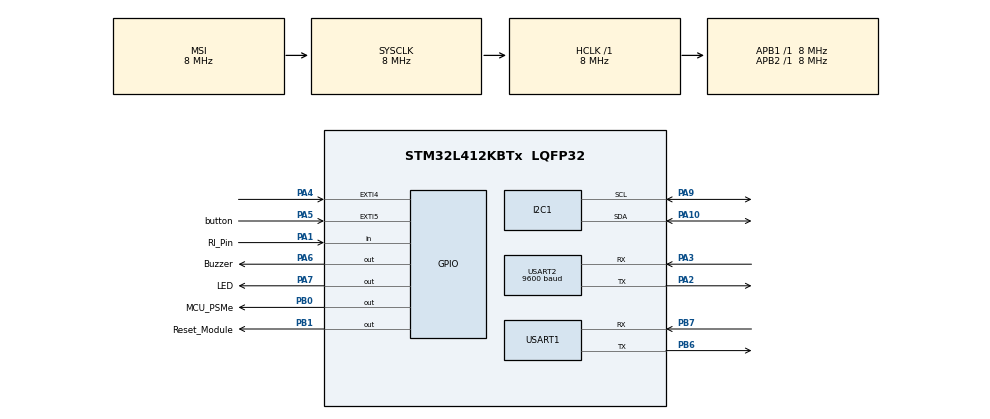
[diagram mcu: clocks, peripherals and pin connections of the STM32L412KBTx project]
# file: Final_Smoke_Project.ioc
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Dma.Request0=USART1_RX
Dma.Request1=USART2_RX
Dma.USART1_RX.0.Direction=DMA_PERIPH_TO_MEMORY
Dma.USART1_RX.0.Instance=DMA2_Channel7
Dma.USART1_RX.0.MemDataAlignment=DMA_MDATAALIGN_BYTE
Dma.USART1_RX.0.MemInc=DMA_MINC_ENABLE
Dma.USART1_RX.0.Mode=DMA_NORMAL
Dma.USART1_RX.0.PeriphDataAlignment=DMA_PDATAALIGN_BYTE
Dma.USART1_RX.0.PeriphInc=DMA_PINC_DISABLE
Dma.USART1_RX.0.Priority=DMA_PRIORITY_HIGH
Dma.USART2_RX.1.Direction=DMA_PERIPH_TO_MEMORY
Dma.USART2_RX.1.Instance=DMA1_Channel6
Dma.USART2_RX.1.MemDataAlignment=DMA_MDATAALIGN_BYTE
Dma.USART2_RX.1.MemInc=DMA_MINC_ENABLE
Dma.USART2_RX.1.Mode=DMA_NORMAL
Dma.USART2_RX.1.PeriphDataAlignment=DMA_PDATAALIGN_BYTE
Dma.USART2_RX.1.PeriphInc=DMA_PINC_DISABLE
Dma.USART2_RX.1.Priority=DMA_PRIORITY_HIGH
I2C1.Timing=0x2000090E
IWDG.Prescaler=IWDG_PRESCALER_256
Mcu.Family=STM32L4
Mcu.Name=STM32L412KBTx
Mcu.Package=LQFP32
NVIC.DMA1_Channel6_IRQn=true\:0\:0\:true\:false\:true\:false\:true
NVIC.DMA2_Channel7_IRQn=true\:0\:0\:false\:false\:true\:false\:true
NVIC.EXTI9_5_IRQn=true\:0\:0\:false\:false\:true\:true\:true
NVIC.FPU_IRQn=true\:0\:0\:false\:false\:true\:true\:false
NVIC.PriorityGroup=NVIC_PRIORITYGROUP_4
NVIC.TIM1_UP_TIM16_IRQn=true\:0\:0\:false\:false\:true\:true\:true
NVIC.TIM2_IRQn=true\:0\:0\:false\:false\:true\:true\:true
NVIC.TIM6_IRQn=true\:0\:0\:false\:false\:true\:true\:true
NVIC.USART1_IRQn=true\:0\:0\:true\:false\:true\:true\:true
NVIC.USART2_IRQn=true\:0\:0\:false\:false\:true\:true\:true
PA1.GPIO_Label=RI_Pin
PA1.Signal=GPIO_Input
PA10.Mode=I2C
PA10.Signal=I2C1_SDA
PA13\ (JTMS/SWDIO).Mode=Trace_Asynchronous_SW
PA13\ (JTMS/SWDIO).Signal=SYS_JTMS-SWDIO
PA14\ (JTCK/SWCLK).Mode=Trace_Asynchronous_SW
PA14\ (JTCK/SWCLK).Signal=SYS_JTCK-SWCLK
PA2.Mode=Asynchronous
PA2.Signal=USART2_TX
PA3.Mode=Asynchronous
PA3.Signal=USART2_RX
PA4.Signal=GPXTI4
PA5.GPIO_Label=button
PA5.GPIO_ModeDefaultEXTI=GPIO_MODE_IT_FALLING
PA5.Signal=GPXTI5
PA6.GPIO_Label=Buzzer
PA6.Signal=GPIO_Output
PA7.GPIO_Label=LED
PA7.Signal=GPIO_Output
PA9.Mode=I2C
PA9.Signal=I2C1_SCL
PB0.GPIO_Label=MCU_PSMe
PB0.Signal=GPIO_Output
PB1.GPIO_Label=Reset_Module
PB1.Signal=GPIO_Output
PB3\ (JTDO/TRACESWO).Mode=Trace_Asynchronous_SW
PB3\ (JTDO/TRACESWO).Signal=SYS_JTDO-SWO
PB6.Mode=Asynchronous
PB6.Signal=USART1_TX
PB7.GPIO_PuPd=GPIO_PULLUP
PB7.Mode=Asynchronous
PB7.Signal=USART1_RX
ProjectManager.HeapSize=0x200
ProjectManager.StackSize=0x400
ProjectManager.TargetToolchain=STM32CubeIDE
RCC.ADCFreq_Value=8000000
RCC.AHBFreq_Value=8000000
RCC.APB1Freq_Value=8000000
RCC.APB1TimFreq_Value=8000000
RCC.APB2Freq_Value=8000000
RCC.APB2TimFreq_Value=8000000
RCC.CortexFreq_Value=8000000
RCC.HCLKFreq_Value=8000000
RCC.HSE_VALUE=8000000
RCC.HSI48_VALUE=48000000
RCC.HSI_VALUE=16000000
RCC.LPTIM1CLockSelection=RCC_LPTIM1CLKSOURCE_HSI
RCC.LSE_VALUE=32768
RCC.MSIClockRange=RCC_MSIRANGE_7
RCC.MSI_VALUE=8000000
RCC.SYSCLKFreq_VALUE=8000000
RCC.USART1CLockSelection=RCC_USART1CLKSOURCE_HSI
RCC.USART2CLockSelection=RCC_USART2CLKSOURCE_HSI
RCC.USBFreq_Value=8000000
RCC.VCOOutputFreq_Value=64000000
TIM16.Period=20000
TIM16.Prescaler=7999
TIM2.Period=49
TIM2.Prescaler=7999
TIM6.Period=20000
TIM6.Prescaler=7999
USART1.VirtualMode-Asynchronous=VM_ASYNC
USART2.BaudRate=9600
USART2.VirtualMode-Asynchronous=VM_ASYNC
VP_IWDG_VS_IWDG.Mode=IWDG_Activate
VP_RTC_VS_RTC_Activate.Mode=RTC_Enabled
VP_TIM16_VS_ClockSourceINT.Mode=Enable_Timer
VP_TIM2_VS_ClockSourceINT.Mode=Internal
VP_TIM6_VS_ClockSourceINT.Mode=Enable_Timer
board=custom

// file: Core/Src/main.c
/* USER CODE BEGIN Header */
/**
  ******************************************************************************
  * @file           : main.c
  * @brief          : Main program body
  ******************************************************************************
  * @attention
  *
  * Copyright (c) 2024 STMicroelectronics.
  * All rights reserved.
  *
  * This software is licensed under terms that can be found in the LICENSE file
  * in the root directory of this software component.
  * If no LICENSE file comes with this software, it is provided AS-IS.
  *
  ******************************************************************************
  */
/* USER CODE END Header */
#include "main.h"

/* USER CODE BEGIN Includes */
#include <ViettelSDK_Device_Management.h>
#include "BM22S2021_1.h"
#include <sht3x.h>
#include "stdlib.h"
#include "stdio.h"
/* USER CODE END Includes */

/* USER CODE BEGIN PTD */

struct ViettelSDK sdk_handler;
struct Smoke_Data smoke_handler;

/* Data Global Variables */
//volatile uint32_t pulse;
/* USER CODE END PTD */

/* USER CODE BEGIN PD */
#define SMOKE_EN 1
#define SHT3X_EN 1
/* USER CODE END PD */

I2C_HandleTypeDef hi2c1;

IWDG_HandleTypeDef hiwdg;

RTC_HandleTypeDef hrtc;

TIM_HandleTypeDef htim2;
TIM_HandleTypeDef htim6;

UART_HandleTypeDef huart1;
UART_HandleTypeDef huart2;
DMA_HandleTypeDef hdma_usart1_rx;
DMA_HandleTypeDef hdma_usart2_rx;

void SystemClock_Config(void);
static void MX_GPIO_Init(void);
static void MX_USART1_UART_Init(void);
static void MX_RTC_Init(void);
static void MX_TIM2_Init(void);
static void MX_DMA_Init(void);
static void MX_USART2_UART_Init(void);
static void MX_I2C1_Init(void);
static void MX_TIM6_Init(void);
static void MX_IWDG_Init(void);
static void MX_TIM16_Init(void);
/* USER CODE BEGIN PFP */

//extern void initialise_monitor_handles(void);
/* USER CODE END PFP */

/* USER CODE BEGIN 0 */

uint8_t test_case = 4; //Disable test mode

void ConfigTimerPeriod(TIM_HandleTypeDef *htim, uint16_t Time);
void HAL_UARTEx_RxEventCallback(UART_HandleTypeDef *huart, uint16_t Size)
{
	if(huart == &huart1)
	{
		saveResponse(&sdk_handler, huart, Size);

		if(sdk_handler.StopMode == 1 && sdk_handler.sleep == false)
		{
			Exit_Stop1Mode(&sdk_handler, &huart1, &huart2);
			sdk_handler.StopMode = 0;
		}
	}
	else if (huart == &huart2)
	{
		saveSmokeRespond(&smoke_handler, huart, Size);

		if(test_case == 3)
			smoke_handler.AlarmSatus = 1;

		if(sdk_handler.coap_params.ReportStatus == 0 && sdk_handler.testCase !=0)
		{
			smoke_handler.AlarmSatus = 0;
			test_case = 0;
			ConfigTimerPeriod(&htim6, 200);
	  		HAL_GPIO_WritePin(GPIOA, GPIO_PIN_6, 0);
	  		HAL_GPIO_WritePin(GPIOA, GPIO_PIN_7, 0);
		}
		if(sdk_handler.coap_params.ReportStatus == 0)
			smoke_handler.AlarmSatus = 0;

		if(sdk_handler.StopMode == 1)
		{
			HAL_IWDG_Refresh(&hiwdg);
			Exit_Stop1Mode(&sdk_handler, &huart1, &huart2);
			sdk_handler.StopMode = 0;
		}

		  if(smoke_handler.AlarmSatus)
			  HAL_GPIO_WritePin(GPIOA, GPIO_PIN_6, 1);
		  else
			  HAL_GPIO_WritePin(GPIOA, GPIO_PIN_6, 0);

	}
}

//Buton Run

uint32_t timestatrt = 0;
bool state = true;
bool btn_test = false;
uint16_t count = 0;

void HAL_GPIO_EXTI_Callback(uint16_t GPIO_Pin)
{
	if(GPIO_Pin == GPIO_PIN_5 && state == true){
		btn_test = true;
		HAL_TIM_Base_Start_IT(&htim2);
		state = false;

		timestatrt = HAL_GetTick();
	}
	else{
		__NOP();
	}
}

void HAL_TIM_PeriodElapsedCallback(TIM_HandleTypeDef *htim)
{
  /* Prevent unused argument(s) compilation warning */
  UNUSED(htim);

  /* NOTE : This function should not be modified, when the callback is needed,
            the HAL_TIM_PeriodElapsedCallback could be implemented in the user file
   */
  if(htim == &htim2){
	if(HAL_GPIO_ReadPin(GPIOA, GPIO_PIN_5) == GPIO_PIN_RESET){
		//HAL_GPIO_TogglePin(GPIOA, GPIO_PIN_7);
		state = true;
		count ++;
		HAL_TIM_Base_Stop_IT(&htim2);
	}
  }

  else if(htim == &htim6)
  {
	  HAL_GPIO_TogglePin(GPIOA, GPIO_PIN_7);
  }

}

//Another funcion

sht3x_handle_t handle = {
    .i2c_handle = &hi2c1,
    .device_address = SHT3X_I2C_DEVICE_ADDRESS_ADDR_PIN_LOW
};

float temperature, humidity;

int _write(int file, char *ptr, int len)
 {
	 int DataIdx;
	 for (DataIdx = 0; DataIdx < len; DataIdx++)
	 {
		 ITM_SendChar(*ptr++);
	 }
	 return len;
 }

void READ_SHT30_SENSOR(void);
void ConfigStop1ModeUART(struct ViettelSDK *self, UART_HandleTypeDef *huart);

/* USER CODE END 0 */

int main(void)
{
  /* USER CODE BEGIN 1 */
	if (!sht3x_init(&handle)) {
	    printf("SHT3x access failed.\n\r");
	}
  /* USER CODE END 1 */

  /* MCU Configuration--------------------------------------------------------*/

  /* Reset of all peripherals, Initializes the Flash interface and the Systick. */
  HAL_Init();

  /* Configure the system clock */
  SystemClock_Config();

  /* Initialize all configured peripherals */
  MX_GPIO_Init();

  MX_RTC_Init();
  MX_TIM2_Init();
  MX_DMA_Init();

  MX_I2C1_Init();
  MX_TIM6_Init();
  MX_IWDG_Init();
  MX_TIM16_Init();
  MX_USART1_UART_Init();
  MX_USART2_UART_Init();
  /* USER CODE BEGIN 2 */

  	/* USER CODE BEGIN 2 */

  	initializeSDK(&sdk_handler,NULL, &huart1, &hdma_usart1_rx, GPIOA,
  	GPIO_PIN_7);

  	setupCOAP_Parameters(&sdk_handler, "115.78.92.253",23025, 0);

  	addDeviceID(&sdk_handler, "device_lxsDT6");

  	if(SMOKE_EN){
  	initialSomke(&smoke_handler, &huart2, &hdma_usart2_rx, 41, GPIOA, GPIO_PIN_4, 2000);
    resetDMAInterrupt_BM22(&smoke_handler);
  	}

  /* USER CODE END 2 */

  /* Infinite loop */
  /* USER CODE BEGIN WHILE */
  while (1)
  {
//	  if(SWO_DEBUG)
//	  printf("Hello world\n");

	  if((sdk_handler.sleep == false && sdk_handler.testCase == 0) || smoke_handler.AlarmSatus)	//Periodical
	  {
		  if(SHT3X_EN)
		  READ_SHT30_SENSOR();

		  connectToPlatform(&sdk_handler,&smoke_handler);

	  }
	  else if (test_case == 2)
	  {
		  if(SHT3X_EN)
		  READ_SHT30_SENSOR();

		  connectToPlatform(&sdk_handler,&smoke_handler);

		  ConfigTimerPeriod(&htim6, 200);		//wait for another test_case

		  test_case = 0;
	  }

	  if(smoke_handler.AlarmSatus == false && btn_test != true && test_case == 4)
	  {
		  Enter_Stop1Mode(&sdk_handler, &huart1, &huart2);
	  }

	  if(btn_test == true && HAL_GetTick() - timestatrt > 400)
	  {
		  switch(count)
		  {
		  	  case 1:
		  		// Do led blink to anounce that device have online and ready to test
		  		  ConfigTimerPeriod(&htim6, 200);

				  printf("count = 1 \n");
				  test_case = 0;
				  sdk_handler.testCase = 1;
				  count = 0;
				  break;
		  	  case 2:
		  		// Do test for report data (led blink at 500ms and after complete blink follow to mos and off)
		  		  ConfigTimerPeriod(&htim6, 500);

		  		  sdk_handler.sleep = false; //wake up module
		  		  test_case = 2;
		  		  sdk_handler.testCase = 1;

		  		  printf("count = 2 \n");
				  count = 0;
				  break;
		  	  case 3:
		  		// Do test alarm buzzer (buzzer on, led blink 1s)
		  		  ConfigTimerPeriod(&htim6, 1000);
    		  	  sdk_handler.sleep = false; //wake up module
    		  	  test_case = 3;
    		  	  sdk_handler.testCase = 1;
		  		  smoke_handler.AlarmSatus = true;
		  		  HAL_GPIO_WritePin(GPIOA, GPIO_PIN_6, 1);
		  		  printf("count = 3 \n");
		  		  count = 0;
		  		  break;
		  	  default:
		  		HAL_TIM_Base_Stop_IT(&htim6);
		  		HAL_GPIO_WritePin(GPIOA, GPIO_PIN_7, 0);
		  		HAL_GPIO_WritePin(GPIOA, GPIO_PIN_6, 0);
		  		smoke_handler.AlarmSatus = false;
		  		sdk_handler.testCase = 0;
		  		test_case = 4;
		  		count = 0;
		  		  break;
		  }

		  btn_test = false;
	  }

    /* USER CODE END WHILE */

  }
}

void SystemClock_Config(void)
{
  RCC_OscInitTypeDef RCC_OscInitStruct = {0};
  RCC_ClkInitTypeDef RCC_ClkInitStruct = {0};

  /** Configure the main internal regulator output voltage
  */
  if (HAL_PWREx_ControlVoltageScaling(PWR_REGULATOR_VOLTAGE_SCALE1) != HAL_OK)
  {
    Error_Handler();
  }
  /** Initializes the RCC Oscillators according to the specified parameters
  * in the RCC_OscInitTypeDef structure.
  */
  RCC_OscInitStruct.OscillatorType = RCC_OSCILLATORTYPE_HSI|RCC_OSCILLATORTYPE_LSI
                              |RCC_OSCILLATORTYPE_MSI;
  RCC_OscInitStruct.HSIState = RCC_HSI_ON;
  RCC_OscInitStruct.HSICalibrationValue = RCC_HSICALIBRATION_DEFAULT;
  RCC_OscInitStruct.LSIState = RCC_LSI_ON;
  RCC_OscInitStruct.MSIState = RCC_MSI_ON;
  RCC_OscInitStruct.MSICalibrationValue = 0;
  RCC_OscInitStruct.MSIClockRange = RCC_MSIRANGE_7;
  RCC_OscInitStruct.PLL.PLLState = RCC_PLL_NONE;
  if (HAL_RCC_OscConfig(&RCC_OscInitStruct) != HAL_OK)
  {
    Error_Handler();
  }
  /** Initializes the CPU, AHB and APB buses clocks
  */
  RCC_ClkInitStruct.ClockType = RCC_CLOCKTYPE_HCLK|RCC_CLOCKTYPE_SYSCLK
                              |RCC_CLOCKTYPE_PCLK1|RCC_CLOCKTYPE_PCLK2;
  RCC_ClkInitStruct.SYSCLKSource = RCC_SYSCLKSOURCE_MSI;
  RCC_ClkInitStruct.AHBCLKDivider = RCC_SYSCLK_DIV1;
  RCC_ClkInitStruct.APB1CLKDivider = RCC_HCLK_DIV1;
  RCC_ClkInitStruct.APB2CLKDivider = RCC_HCLK_DIV1;

  if (HAL_RCC_ClockConfig(&RCC_ClkInitStruct, FLASH_LATENCY_0) != HAL_OK)
  {
    Error_Handler();
  }
}

static void MX_I2C1_Init(void)
{

  hi2c1.Instance = I2C1;
  hi2c1.Init.Timing = 0x2000090E;
  hi2c1.Init.OwnAddress1 = 0;
  hi2c1.Init.AddressingMode = I2C_ADDRESSINGMODE_7BIT;
  hi2c1.Init.DualAddressMode = I2C_DUALADDRESS_DISABLE;
  hi2c1.Init.OwnAddress2 = 0;
  hi2c1.Init.OwnAddress2Masks = I2C_OA2_NOMASK;
  hi2c1.Init.GeneralCallMode = I2C_GENERALCALL_DISABLE;
  hi2c1.Init.NoStretchMode = I2C_NOSTRETCH_DISABLE;
  if (HAL_I2C_Init(&hi2c1) != HAL_OK)
  {
    Error_Handler();
  }
  /** Configure Analogue filter
  */
  if (HAL_I2CEx_ConfigAnalogFilter(&hi2c1, I2C_ANALOGFILTER_ENABLE) != HAL_OK)
  {
    Error_Handler();
  }
  /** Configure Digital filter
  */
  if (HAL_I2CEx_ConfigDigitalFilter(&hi2c1, 0) != HAL_OK)
  {
    Error_Handler();
  }

}

static void MX_IWDG_Init(void)
{

  hiwdg.Instance = IWDG;
  hiwdg.Init.Prescaler = IWDG_PRESCALER_256;
  hiwdg.Init.Window = 4095;
  hiwdg.Init.Reload = 4095;
  if (HAL_IWDG_Init(&hiwdg) != HAL_OK)
  {
    Error_Handler();
  }

}

static void MX_RTC_Init(void)
{

  /** Initialize RTC Only
  */
  hrtc.Instance = RTC;
  hrtc.Init.HourFormat = RTC_HOURFORMAT_24;
  hrtc.Init.AsynchPrediv = 127;
  hrtc.Init.SynchPrediv = 255;
  hrtc.Init.OutPut = RTC_OUTPUT_DISABLE;
  hrtc.Init.OutPutRemap = RTC_OUTPUT_REMAP_NONE;
  hrtc.Init.OutPutPolarity = RTC_OUTPUT_POLARITY_HIGH;
  hrtc.Init.OutPutType = RTC_OUTPUT_TYPE_OPENDRAIN;
  hrtc.Init.OutPutPullUp = RTC_OUTPUT_PULLUP_NONE;
  if (HAL_RTC_Init(&hrtc) != HAL_OK)
  {
    Error_Handler();
  }

}

static void MX_TIM2_Init(void)
{

  TIM_ClockConfigTypeDef sClockSourceConfig = {0};
  TIM_MasterConfigTypeDef sMasterConfig = {0};

  htim2.Instance = TIM2;
  htim2.Init.Prescaler = 7999;
  htim2.Init.CounterMode = TIM_COUNTERMODE_UP;
  htim2.Init.Period = 49;
  htim2.Init.ClockDivision = TIM_CLOCKDIVISION_DIV1;
  htim2.Init.AutoReloadPreload = TIM_AUTORELOAD_PRELOAD_DISABLE;
  if (HAL_TIM_Base_Init(&htim2) != HAL_OK)
  {
    Error_Handler();
  }
  sClockSourceConfig.ClockSource = TIM_CLOCKSOURCE_INTERNAL;
  if (HAL_TIM_ConfigClockSource(&htim2, &sClockSourceConfig) != HAL_OK)
  {
    Error_Handler();
  }
  sMasterConfig.MasterOutputTrigger = TIM_TRGO_RESET;
  sMasterConfig.MasterSlaveMode = TIM_MASTERSLAVEMODE_DISABLE;
  if (HAL_TIMEx_MasterConfigSynchronization(&htim2, &sMasterConfig) != HAL_OK)
  {
    Error_Handler();
  }

}

static void MX_TIM6_Init(void)
{

  TIM_MasterConfigTypeDef sMasterConfig = {0};

  htim6.Instance = TIM6;
  htim6.Init.Prescaler = 7999;
  htim6.Init.CounterMode = TIM_COUNTERMODE_UP;
  htim6.Init.Period = 20000;
  htim6.Init.AutoReloadPreload = TIM_AUTORELOAD_PRELOAD_DISABLE;
  if (HAL_TIM_Base_Init(&htim6) != HAL_OK)
  {
    Error_Handler();
  }
  sMasterConfig.MasterOutputTrigger = TIM_TRGO_RESET;
  sMasterConfig.MasterSlaveMode = TIM_MASTERSLAVEMODE_DISABLE;
  if (HAL_TIMEx_MasterConfigSynchronization(&htim6, &sMasterConfig) != HAL_OK)
  {
    Error_Handler();
  }

}

static void MX_TIM16_Init(void)
{

  htim16.Instance = TIM16;
  htim16.Init.Prescaler = 7999;
  htim16.Init.CounterMode = TIM_COUNTERMODE_UP;
  htim16.Init.Period = 20000;
  htim16.Init.ClockDivision = TIM_CLOCKDIVISION_DIV1;
  htim16.Init.RepetitionCounter = 0;
  htim16.Init.AutoReloadPreload = TIM_AUTORELOAD_PRELOAD_DISABLE;
  if (HAL_TIM_Base_Init(&htim16) != HAL_OK)
  {
    Error_Handler();
  }

}

static void MX_USART1_UART_Init(void)
{

  huart1.Instance = USART1;
  huart1.Init.BaudRate = 115200;
  huart1.Init.WordLength = UART_WORDLENGTH_8B;
  huart1.Init.StopBits = UART_STOPBITS_1;
  huart1.Init.Parity = UART_PARITY_NONE;
  huart1.Init.Mode = UART_MODE_TX_RX;
  huart1.Init.HwFlowCtl = UART_HWCONTROL_NONE;
  huart1.Init.OverSampling = UART_OVERSAMPLING_16;
  huart1.Init.OneBitSampling = UART_ONE_BIT_SAMPLE_DISABLE;
  huart1.AdvancedInit.AdvFeatureInit = UART_ADVFEATURE_NO_INIT;
  if (HAL_UART_Init(&huart1) != HAL_OK)
  {
    Error_Handler();
  }

}

static void MX_USART2_UART_Init(void)
{

  huart2.Instance = USART2;
  huart2.Init.BaudRate = 9600;
  huart2.Init.WordLength = UART_WORDLENGTH_8B;
  huart2.Init.StopBits = UART_STOPBITS_1;
  huart2.Init.Parity = UART_PARITY_NONE;
  huart2.Init.Mode = UART_MODE_TX_RX;
  huart2.Init.HwFlowCtl = UART_HWCONTROL_NONE;
  huart2.Init.OverSampling = UART_OVERSAMPLING_16;
  huart2.Init.OneBitSampling = UART_ONE_BIT_SAMPLE_DISABLE;
  huart2.AdvancedInit.AdvFeatureInit = UART_ADVFEATURE_NO_INIT;
  if (HAL_UART_Init(&huart2) != HAL_OK)
  {
    Error_Handler();
  }

}

static void MX_DMA_Init(void)
{

  /* DMA controller clock enable */
  __HAL_RCC_DMA2_CLK_ENABLE();
  __HAL_RCC_DMA1_CLK_ENABLE();

  /* DMA interrupt init */
  /* DMA1_Channel6_IRQn interrupt configuration */
  HAL_NVIC_SetPriority(DMA1_Channel6_IRQn, 0, 0);
  HAL_NVIC_EnableIRQ(DMA1_Channel6_IRQn);
  /* DMA2_Channel7_IRQn interrupt configuration */
  HAL_NVIC_SetPriority(DMA2_Channel7_IRQn, 0, 0);
  HAL_NVIC_EnableIRQ(DMA2_Channel7_IRQn);

}

static void MX_GPIO_Init(void)
{
  GPIO_InitTypeDef GPIO_InitStruct = {0};

  /* GPIO Ports Clock Enable */
  __HAL_RCC_GPIOA_CLK_ENABLE();
  __HAL_RCC_GPIOB_CLK_ENABLE();

  /*Configure GPIO pin Output Level */
  HAL_GPIO_WritePin(GPIOA, Buzzer_Pin|LED_Pin, GPIO_PIN_RESET);

  /*Configure GPIO pin Output Level */
  HAL_GPIO_WritePin(GPIOB, MCU_PSMe_Pin|Reset_Module_Pin, GPIO_PIN_RESET);

  /*Configure GPIO pin : RI_Pin_Pin */
  GPIO_InitStruct.Pin = RI_Pin_Pin;
  GPIO_InitStruct.Mode = GPIO_MODE_INPUT;
  GPIO_InitStruct.Pull = GPIO_NOPULL;
  HAL_GPIO_Init(RI_Pin_GPIO_Port, &GPIO_InitStruct);

  /*Configure GPIO pin : PA4 */
  GPIO_InitStruct.Pin = GPIO_PIN_4;
  GPIO_InitStruct.Mode = GPIO_MODE_IT_RISING;
  GPIO_InitStruct.Pull = GPIO_NOPULL;
  HAL_GPIO_Init(GPIOA, &GPIO_InitStruct);

  /*Configure GPIO pin : button_Pin */
  GPIO_InitStruct.Pin = button_Pin;
  GPIO_InitStruct.Mode = GPIO_MODE_IT_FALLING;
  GPIO_InitStruct.Pull = GPIO_NOPULL;
  HAL_GPIO_Init(button_GPIO_Port, &GPIO_InitStruct);

  /*Configure GPIO pins : Buzzer_Pin LED_Pin */
  GPIO_InitStruct.Pin = Buzzer_Pin|LED_Pin;
  GPIO_InitStruct.Mode = GPIO_MODE_OUTPUT_PP;
  GPIO_InitStruct.Pull = GPIO_NOPULL;
  GPIO_InitStruct.Speed = GPIO_SPEED_FREQ_LOW;
  HAL_GPIO_Init(GPIOA, &GPIO_InitStruct);

  /*Configure GPIO pins : MCU_PSMe_Pin Reset_Module_Pin */
  GPIO_InitStruct.Pin = MCU_PSMe_Pin|Reset_Module_Pin;
  GPIO_InitStruct.Mode = GPIO_MODE_OUTPUT_PP;
  GPIO_InitStruct.Pull = GPIO_NOPULL;
  GPIO_InitStruct.Speed = GPIO_SPEED_FREQ_LOW;
  HAL_GPIO_Init(GPIOB, &GPIO_InitStruct);

  /* EXTI interrupt init*/
  HAL_NVIC_SetPriority(EXTI9_5_IRQn, 0, 0);
  HAL_NVIC_EnableIRQ(EXTI9_5_IRQn);

}

/* USER CODE BEGIN 4 */

void READ_SHT30_SENSOR(void)
{
	  sht3x_read_temperature_and_humidity(&handle, &temperature, &humidity);
//	  printf("Initial temperature: %.2fC, humidity: %.2f%%RH\n\r", temperature, humidity);

	  // Enable heater for two seconds.
	  sht3x_set_header_enable(&handle, true);
	  HAL_Delay(2000);
	  sht3x_set_header_enable(&handle, false);

	  // Read temperature and humidity again.
	  sht3x_read_temperature_and_humidity(&handle, &temperature, &humidity);

	  smoke_handler.temperature = temperature;
	  smoke_handler.humidity = humidity;

}

void ConfigTimerPeriod(TIM_HandleTypeDef *htim, uint16_t Time)
{
	  HAL_TIM_Base_Stop_IT(htim);
	  htim->Init.Period = Time;
	  HAL_TIM_Base_Init(htim);
	  HAL_TIM_Base_Start_IT(htim);
}

/* USER CODE END 4 */

void Error_Handler(void)
{
  __disable_irq();
  while (1)
  {
  }
}
